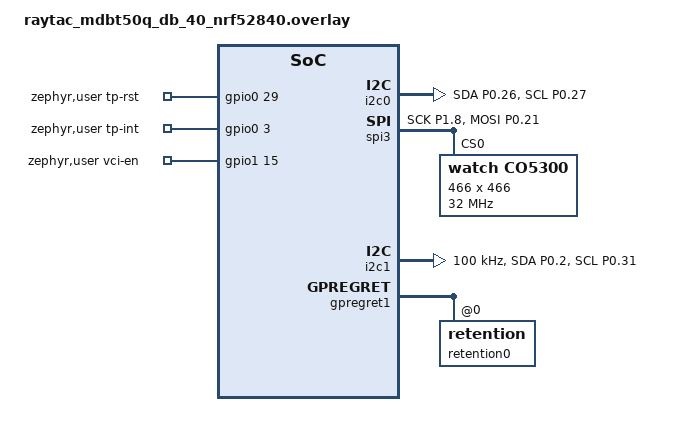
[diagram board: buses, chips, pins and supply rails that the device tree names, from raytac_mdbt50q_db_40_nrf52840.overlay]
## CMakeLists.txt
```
cmake_minimum_required(VERSION 3.20.0)

# Build the PB1 reset task into MCUboot only (not the app)
set(mcuboot_EXTRA_ZEPHYR_MODULES "${CMAKE_CURRENT_LIST_DIR}/mcuboot_pb1_reset")

find_package(Zephyr REQUIRED HINTS $ENV{ZEPHYR_BASE})
project(untitled)

target_sources(app PRIVATE src/main.c src/co5300.c)
```

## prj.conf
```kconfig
CONFIG_USE_SEGGER_RTT=y
CONFIG_RTT_CONSOLE=y
CONFIG_UART_CONSOLE=n
CONFIG_I2C=y
CONFIG_SPI=y
CONFIG_MAIN_STACK_SIZE=8192

# Added for touch test
CONFIG_GPIO=y
CONFIG_PRINTK=y
CONFIG_CONSOLE=y

# MCUboot + USB bootloader
CONFIG_BOOTLOADER_MCUBOOT=y
CONFIG_REBOOT=y

# Boot mode: app leaves a "go to USB mode" flag for MCUboot in GPREGRET
CONFIG_RETAINED_MEM=y
CONFIG_RETENTION=y
CONFIG_RETENTION_BOOT_MODE=y

# Use our own crash handler in main.c (freeze screen + fast LED blink)
CONFIG_RESET_ON_FATAL_ERROR=n

# Low-frequency clock: no working 32.768 kHz crystal, use internal RC
CONFIG_CLOCK_CONTROL_NRF_K32SRC_RC=y
CONFIG_CLOCK_CONTROL_NRF_K32SRC_500PPM=y
CONFIG_CLOCK_CONTROL_NRF_K32SRC_RC_CALIBRATION=y

# Bluetooth
CONFIG_BT=y
CONFIG_BT_PERIPHERAL=y
CONFIG_BT_DEVICE_NAME="Watch"
CONFIG_BT_MAX_CONN=1
CONFIG_SYSTEM_WORKQUEUE_STACK_SIZE=3072
CONFIG_BT_CTLR_CONN_RSSI=y

# Pairing + iPhone Current Time Service
CONFIG_BT_SMP=y
CONFIG_BT_GATT_CLIENT=y
CONFIG_BT_GATT_DM=y
CONFIG_BT_CTS_CLIENT=y
CONFIG_HEAP_MEM_POOL_SIZE=2048

# Display driver (src/co5300.c) + LVGL
CONFIG_DISPLAY=y
CONFIG_LVGL=y
CONFIG_LV_MEM_CUSTOM=y
CONFIG_LV_Z_MEM_POOL_SIZE=16384
CONFIG_LV_Z_VDB_SIZE=10
CONFIG_LV_COLOR_DEPTH_16=y
CONFIG_LV_COLOR_16_SWAP=y
CONFIG_LV_USE_LABEL=y
CONFIG_LV_FONT_MONTSERRAT_14=y
CONFIG_LV_FONT_MONTSERRAT_20=y
CONFIG_LV_FONT_MONTSERRAT_28=y
CONFIG_LV_FONT_MONTSERRAT_48=y

# Permanent bonding: save pairing keys in flash (adds settings_storage partition)
CONFIG_FLASH=y
CONFIG_FLASH_MAP=y
CONFIG_FLASH_PAGE_LAYOUT=y
CONFIG_NVS=y
CONFIG_SETTINGS=y
CONFIG_SETTINGS_NVS=y
CONFIG_BT_SETTINGS=y
CONFIG_BT_KEYS_OVERWRITE_OLDEST=y
CONFIG_BT_SMP_ALLOW_UNAUTH_OVERWRITE=y

# Notifications from the iPhone (Apple Notification Center Service)
CONFIG_BT_ANCS_CLIENT=y
```

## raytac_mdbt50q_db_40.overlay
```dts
&i2c0 {
	compatible = "nordic,nrf-twi";
	status = "okay";
	sda-pin = <26>;
	scl-pin = <27>;
};
```

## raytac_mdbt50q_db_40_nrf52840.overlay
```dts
#include <zephyr/dt-bindings/gpio/gpio.h>

/* ---------- Existing sensor bus ---------- */
&i2c0 {
	status = "okay";
	pinctrl-0 = <&i2c0_default>;
	pinctrl-1 = <&i2c0_sleep>;
	pinctrl-names = "default", "sleep";
};

/* ---------- Display on SPIM3 (32 MHz) ---------- */
&spi2 {
	status = "disabled";
};

&spi3 {
	status = "okay";
	compatible = "nordic,nrf-spim";
	pinctrl-0 = <&spi3_default>;
	pinctrl-1 = <&spi3_sleep>;
	pinctrl-names = "default", "sleep";

	/* CS (P0.17) is driven by the driver itself, so no cs-gpios here */
	co5300: co5300@0 {
		compatible = "watch,co5300";
		reg = <0>;
		spi-max-frequency = <32000000>;
		width = <466>;
		height = <466>;
	};
};

/* ---------- Touch controller bus (CST820) ---------- */
/* TWIM1 shares hardware with SPIM1, so spi1 must be off */
&spi1 {
	status = "disabled";
};

&i2c1 {
	compatible = "nordic,nrf-twim";
	status = "okay";
	clock-frequency = <I2C_BITRATE_STANDARD>;
	pinctrl-0 = <&i2c1_default>;
	pinctrl-1 = <&i2c1_sleep>;
	pinctrl-names = "default", "sleep";
};

&pinctrl {
	i2c0_default: i2c0_default {
		group1 {
			psels = <NRF_PSEL(TWIM_SDA, 0, 26)>,
				<NRF_PSEL(TWIM_SCL, 0, 27)>;
		};
	};

	i2c0_sleep: i2c0_sleep {
		group1 {
			psels = <NRF_PSEL(TWIM_SDA, 0, 26)>,
				<NRF_PSEL(TWIM_SCL, 0, 27)>;
			low-power-enable;
		};
	};

	/* Display: SCK P1.08 (rework wire to _CLK), MOSI P0.21, high drive */
	spi3_default: spi3_default {
		group1 {
			psels = <NRF_PSEL(SPIM_SCK, 1, 8)>,
				<NRF_PSEL(SPIM_MOSI, 0, 21)>;
			nordic,drive-mode = <NRF_DRIVE_H0H1>;
		};
	};

	spi3_sleep: spi3_sleep {
		group1 {
			psels = <NRF_PSEL(SPIM_SCK, 1, 8)>,
				<NRF_PSEL(SPIM_MOSI, 0, 21)>;
			low-power-enable;
		};
	};

	/* TP_SDA = P0.02, TP_SCL = P0.31 */
	i2c1_default: i2c1_default {
		group1 {
			psels = <NRF_PSEL(TWIM_SDA, 0, 2)>,
				<NRF_PSEL(TWIM_SCL, 0, 31)>;
			bias-pull-up;
		};
	};

	i2c1_sleep: i2c1_sleep {
		group1 {
			psels = <NRF_PSEL(TWIM_SDA, 0, 2)>,
				<NRF_PSEL(TWIM_SCL, 0, 31)>;
			low-power-enable;
		};
	};
};

/* Touch control GPIOs + display power enable */
/ {
	zephyr,user {
		tp-rst-gpios = <&gpio0 29 GPIO_ACTIVE_HIGH>;  /* TP_RST */
		tp-int-gpios = <&gpio0 3 GPIO_ACTIVE_HIGH>;   /* TP_INT */
		vci-en-gpios = <&gpio1 15 GPIO_ACTIVE_HIGH>;  /* VCI_EN */
	};
};

/* ---------- Boot mode flag (shared with MCUboot) ---------- */
&gpregret1 {
	status = "okay";
	#address-cells = <1>;
	#size-cells = <1>;
	retention0: retention@0 {
		compatible = "zephyr,retention";
		status = "okay";
		reg = <0x0 0x1>;
	};
};

/ {
	chosen {
		zephyr,boot-mode = &retention0;
		zephyr,display = &co5300;
	};
};
```

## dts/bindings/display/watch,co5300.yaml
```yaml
description: CO5300 AMOLED controller, single-line SPI writes, CS driven by the driver

compatible: "watch,co5300"

include: [spi-device.yaml, display-controller.yaml]
```

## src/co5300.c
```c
/*
 * CO5300 AMOLED display driver (single-line SPI on SPIM3)
 * Board-specific pins for Rev 1.1:
 *   VCI_EN = P1.15, RESET = P0.28, CS = P0.17 (driven here, not by SPI)
 * Rules for this panel:
 *   - drawing windows must start on even x/y and be even in width/height
 *   - 120 ms minimum between sleep-in and sleep-out
 */
#define DT_DRV_COMPAT watch_co5300

#include <zephyr/kernel.h>
#include <zephyr/device.h>
#include <zephyr/drivers/display.h>
#include <zephyr/drivers/spi.h>
#include <hal/nrf_gpio.h>
#include <string.h>
#include <errno.h>

#define VCI_EN_PIN    (32 + 15)
#define DISP_RST_PIN  (28)
#define CS_PIN        (17)
#define X_OFFSET      6            // panel's first visible column

#define CMD_SLPIN     0x10
#define CMD_SLPOUT    0x11
#define CMD_DISPOFF   0x28
#define CMD_DISPON    0x29
#define CMD_CASET     0x2A
#define CMD_RASET     0x2B
#define CMD_RAMWR     0x2C
#define CMD_TEON      0x35
#define CMD_COLMOD    0x3A
#define CMD_WRDISBV   0x51
#define CMD_WRCTRLD   0x53
#define CMD_SPIMODE   0xC4
#define CMD_PAGESW    0xFE

struct co5300_config {
	struct spi_dt_spec bus;
	uint16_t width;
	uint16_t height;
};

struct co5300_data {
	int64_t slept_at;
	bool asleep;
	uint8_t brightness;
};

static int send(const struct device *dev, const void *buf, size_t len)
{
	const struct co5300_config *cfg = dev->config;
	struct spi_buf b = { .buf = (void *)buf, .len = len };
	struct spi_buf_set s = { .buffers = &b, .count = 1 };
	return spi_write_dt(&cfg->bus, &s);
}

static int cmd(const struct device *dev, uint8_t c, const uint8_t *p, size_t n)
{
	uint8_t buf[4 + 16];
	if (n > 16) return -EINVAL;
	buf[0] = 0x02; buf[1] = 0x00; buf[2] = c; buf[3] = 0x00;   // single-line write
	if (p && n) memcpy(&buf[4], p, n);

	nrf_gpio_pin_clear(CS_PIN);
	int ret = send(dev, buf, 4 + n);
	nrf_gpio_pin_set(CS_PIN);
	return ret;
}

static int cmd1(const struct device *dev, uint8_t c, uint8_t v)
{
	return cmd(dev, c, &v, 1);
}

static void set_window(const struct device *dev, int x0, int y0, int w, int h)
{
	int x1 = x0 + w - 1;
	int y1 = y0 + h - 1;
	uint8_t caset[4] = { (x0 >> 8) & 0xFF, x0 & 0xFF, (x1 >> 8) & 0xFF, x1 & 0xFF };
	uint8_t raset[4] = { (y0 >> 8) & 0xFF, y0 & 0xFF, (y1 >> 8) & 0xFF, y1 & 0xFF };
	cmd(dev, CMD_CASET, caset, 4);
	cmd(dev, CMD_RASET, raset, 4);
}

// Configuration registers; re-sent on every wake in case a write was corrupted
static void config_regs(const struct device *dev)
{
	cmd1(dev, CMD_PAGESW, 0x00);
	cmd1(dev, CMD_SPIMODE, 0x80);
	cmd1(dev, CMD_COLMOD, 0x55);    // RGB565
	cmd1(dev, CMD_TEON, 0x00);
	cmd1(dev, CMD_WRCTRLD, 0x20);   // brightness control on
}

static int co5300_write(const struct device *dev, const uint16_t x, const uint16_t y,
			const struct display_buffer_descriptor *desc, const void *buf)
{
	static uint8_t ramwr[4] = { 0x02, 0x00, CMD_RAMWR, 0x00 };   // RAM, not flash (DMA)
	const uint8_t *p = buf;
	size_t row_bytes = (size_t)desc->width * 2;
	int ret;

	set_window(dev, x + X_OFFSET, y, desc->width, desc->height);

	nrf_gpio_pin_clear(CS_PIN);
	ret = send(dev, ramwr, sizeof(ramwr));
	if (desc->pitch == desc->width) {
		if (!ret) ret = send(dev, p, row_bytes * desc->height);
	} else {
		for (uint16_t r = 0; r < desc->height && !ret; r++) {
			ret = send(dev, p + (size_t)r * desc->pitch * 2, row_bytes);
		}
	}
	nrf_gpio_pin_set(CS_PIN);
	return ret;
}

// "Blanking on" = panel sleep (image is kept in panel RAM)
static int co5300_blanking_on(const struct device *dev)
{
	struct co5300_data *d = dev->data;
	if (d->asleep) return 0;

	cmd(dev, CMD_DISPOFF, NULL, 0);
	k_msleep(20);
	cmd(dev, CMD_SLPIN, NULL, 0);
	d->slept_at = k_uptime_get();
	d->asleep = true;
	return 0;
}

static int co5300_blanking_off(const struct device *dev)
{
	struct co5300_data *d = dev->data;
	if (!d->asleep) return 0;

	int64_t since = k_uptime_get() - d->slept_at;
	if (since < 120) k_msleep(120 - since);

	config_regs(dev);
	cmd1(dev, CMD_WRDISBV, d->brightness);
	cmd(dev, CMD_SLPOUT, NULL, 0);
	k_msleep(60);
	cmd(dev, CMD_DISPON, NULL, 0);
	d->asleep = false;
	return 0;
}

static int co5300_set_brightness(const struct device *dev, const uint8_t brightness)
{
	struct co5300_data *d = dev->data;
	d->brightness = brightness;
	return cmd1(dev, CMD_WRDISBV, brightness);
}

static void co5300_get_capabilities(const struct device *dev,
				    struct display_capabilities *caps)
{
	const struct co5300_config *cfg = dev->config;
	memset(caps, 0, sizeof(*caps));
	caps->x_resolution = cfg->width;
	caps->y_resolution = cfg->height;
	caps->supported_pixel_formats = PIXEL_FORMAT_RGB_565;
	caps->current_pixel_format = PIXEL_FORMAT_RGB_565;
	caps->current_orientation = DISPLAY_ORIENTATION_NORMAL;
}

static int co5300_set_pixel_format(const struct device *dev,
				   const enum display_pixel_format pf)
{
	return (pf == PIXEL_FORMAT_RGB_565) ? 0 : -ENOTSUP;
}

static int co5300_init(const struct device *dev)
{
	const struct co5300_config *cfg = dev->config;
	struct co5300_data *d = dev->data;

	if (!spi_is_ready_dt(&cfg->bus)) return -ENODEV;

	nrf_gpio_cfg_output(VCI_EN_PIN);
	nrf_gpio_cfg_output(DISP_RST_PIN);
	nrf_gpio_cfg_output(CS_PIN);

	nrf_gpio_pin_clear(VCI_EN_PIN);
	nrf_gpio_pin_clear(DISP_RST_PIN);
	nrf_gpio_pin_set(CS_PIN);

	nrf_gpio_pin_set(VCI_EN_PIN);
	k_msleep(15);
	nrf_gpio_pin_clear(DISP_RST_PIN);
	k_msleep(10);
	nrf_gpio_pin_set(DISP_RST_PIN);
	k_msleep(150);

	config_regs(dev);
	d->brightness = 0;                      // app fades in after first draw
	cmd1(dev, CMD_WRDISBV, 0);
	cmd(dev, CMD_SLPOUT, NULL, 0);
	k_msleep(60);
	cmd(dev, CMD_DISPON, NULL, 0);
	k_msleep(20);

	d->asleep = false;
	return 0;
}

static const struct display_driver_api co5300_api = {
	.blanking_on = co5300_blanking_on,
	.blanking_off = co5300_blanking_off,
	.write = co5300_write,
	.set_brightness = co5300_set_brightness,
	.get_capabilities = co5300_get_capabilities,
	.set_pixel_format = co5300_set_pixel_format,
};

#define CO5300_DEFINE(n)                                                         \
	static const struct co5300_config co5300_cfg_##n = {                     \
		.bus = SPI_DT_SPEC_INST_GET(n, SPI_WORD_SET(8) | SPI_TRANSFER_MSB, 0), \
		.width = DT_INST_PROP(n, width),                                 \
		.height = DT_INST_PROP(n, height),                               \
	};                                                                       \
	static struct co5300_data co5300_data_##n;                               \
	DEVICE_DT_INST_DEFINE(n, co5300_init, NULL, &co5300_data_##n,            \
			      &co5300_cfg_##n, POST_KERNEL,                      \
			      CONFIG_DISPLAY_INIT_PRIORITY, &co5300_api);

DT_INST_FOREACH_STATUS_OKAY(CO5300_DEFINE)
```
